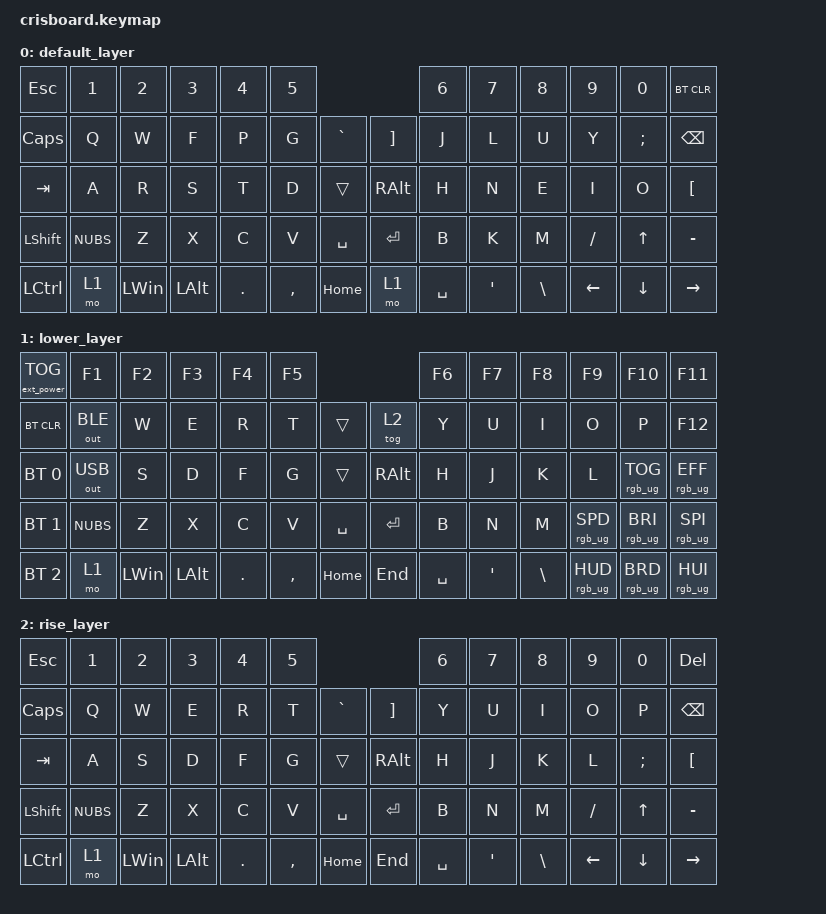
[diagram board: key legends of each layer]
#include <behaviors.dtsi>
#include <dt-bindings/zmk/keys.h>
#include <dt-bindings/zmk/bt.h>
#include <dt-bindings/zmk/outputs.h>
#include <dt-bindings/led/led.h>
#include <dt-bindings/zmk/rgb.h>
#include <dt-bindings/zmk/ext_power.h>

#define DEF 0
#define LWR 1
#define RSE 2
#define ADJ 3




/ {
        keymap {
                compatible = "zmk,keymap";

                default_layer {

//
 // COLEMAK
 // ,-----------------------------------------.                    ,----------------------------------------.
 // | ESC  |   1  |   2  |   3  |   4  |   5  |                   |   6  |   7  |   8  |   9  |   0  |  DEL |
 // |------+------+------+------+------+------|-------    --------|------+------+------+------+------+------|
 // | CAPS |   Q  |   W  |   F  |   P  |   G  |      |    |  +*   |   J  |   L  |   U  |   Y  |   Ñ  | BSPC |
 // |------+------+------+------+------+------|-------    --------|------+------+------+------+------+------|
 // | Tab  |   A  |   R  |   S  |   T  |   D  |      |    |       |   H  |   N  |   E  |   I  |   O  |  ´   |
 // |------+------+------+------+------+------|-------    --------|------+------+------+------+------+------|
 // |LShift|  <>  |   Z  |   X  |   C  |   V  |  :.  |    | ENTER |   B  |   K  |   M  |   -  |  UP  |  '?  |
 // |-----------------------------------------|-------    --------|-----------------------------------------|
 // | LCTR |  WIN | KC_NO| LALT |  ,;  |  SPC | HOME |    |  END  |  SPC |   {  |   }  | LEFT | DOWN | RIGHT|
 //  -------------------------------------------------    ---------------------------------------------------
 //


                        bindings = <
    &kp ESC        &kp N1      &kp N2      &kp N3      &kp N4     &kp N5                                &kp N6    &kp N7     &kp N8      &kp N9     &kp N0     &bt BT_CLR
    &kp CAPS       &kp Q       &kp W       &kp F       &kp P      &kp G       &kp GRAVE       &kp RBKT  &kp J     &kp L      &kp U       &kp Y      &kp SEMI   &kp BSPC
    &kp TAB        &kp A       &kp R       &kp S       &kp T      &kp D       &trans          &kp RALT  &kp H     &kp N      &kp E       &kp I      &kp O      &kp LBKT
    &kp LSHFT      &kp NUBS    &kp Z       &kp X       &kp C      &kp V       &kp SPACE       &kp ENTER &kp B     &kp K      &kp M       &kp FSLH   &kp UP     &kp MINUS
    &kp LCTRL      &mo 1       &kp LWIN    &kp LALT    &kp DOT    &kp COMMA   &kp HOME        &mo 1   &kp SPACE &kp APOS   &kp BSLH    &kp LEFT   &kp DOWN   &kp RIGHT

                        >;
                };






                lower_layer {
 //
 // FN
 // ,-----------------------------------------.                    ,----------------------------------------.
 // | ESC  |   1  |   2  |   3  |   4  |   5  |                   |   6  |   7  |   8  |   9  |   0  |  DEL |
 // |------+------+------+------+------+------|-------    --------|------+------+------+------+------+------|
 // | BTclr|TogOut|   W  |   E  |   R  |   T  |      |    |Colemak|   Y  |   U  |   I  |   O  |   P  | BSPC |
 // |------+------+------+------+------+------|-------    --------|------+------+------+------+------+------|
 // | BT0  |   A  |   S  |   D  |   F  |   G  |      |    |       |   H  |   J  |   K  |   L  |   Ñ  |  ´   |
 // |------+------+------+------+------+------|-------    --------|------+------+------+------+------+------|
 // | BT1  |  <>  |   Z  |   X  |   C  |   V  |  :.  |    | ENTER |   B  |   N  |   M  |   -  |  UP  |  '?  |
 // |-----------------------------------------|-------    --------|-----------------------------------------|
 // | BT2  |  WIN | KC_NO| LALT |  ,;  |  SPC | HOME |    |  END  |  SPC |   {  |   }  | LEFT | DOWN | RIGHT|
 //  -------------------------------------------------    ---------------------------------------------------
 //


                        bindings = <
    &ext_power EP_TOG &kp F1       &kp F2      &kp F3      &kp F4     &kp F5                                &kp F6    &kp F7     &kp F8      &kp F9           &kp F10         &kp F11
    &bt BT_CLR     &out OUT_BLE &kp W       &kp E       &kp R      &kp T       &trans          &tog 2    &kp Y     &kp U      &kp I       &kp O             &kp P             &kp F12
    &bt BT_SEL 0   &out OUT_USB &kp S       &kp D       &kp F      &kp G       &trans          &kp RALT  &kp H     &kp J      &kp K       &kp L             &rgb_ug RGB_TOG   &rgb_ug RGB_EFF
    &bt BT_SEL 1   &kp NUBS     &kp Z       &kp X       &kp C      &kp V       &kp SPACE       &kp ENTER &kp B     &kp N      &kp M       &rgb_ug RGB_SPD   &rgb_ug RGB_BRI   &rgb_ug RGB_SPI
    &bt BT_SEL 2   &mo 1        &kp LWIN    &kp LALT    &kp DOT    &kp COMMA   &kp HOME        &kp END   &kp SPACE &kp APOS   &kp BSLH    &rgb_ug RGB_HUD   &rgb_ug RGB_BRD   &rgb_ug RGB_HUI
                        >;
                };



                rise_layer {
 //
 // QWERTY
 // ,-----------------------------------------.                    ,----------------------------------------.
 // | ESC  |   1  |   2  |   3  |   4  |   5  |                   |   6  |   7  |   8  |   9  |   0  |  DEL |
 // |------+------+------+------+------+------|-------    --------|------+------+------+------+------+------|
 // | CAPS |   Q  |   W  |   E  |   R  |   T  |  |°  |    |  +*   |   Y  |   U  |   I  |   O  |   P  | BSPC |
 // |------+------+------+------+------+------|-------    --------|------+------+------+------+------+------|
 // | Tab  |   A  |   S  |   D  |   F  |   G  |      |    |  RAlt |   H  |   J  |   K  |   L  |   Ñ  |  ´   |
 // |------+------+------+------+------+------|-------    --------|------+------+------+------+------+------|
 // |LShift|  <>  |   Z  |   X  |   C  |   V  |  :.  |    | ENTER |   B  |   N  |   M  |   -  |  UP  |  '?  |
 // |-----------------------------------------|-------    --------|-----------------------------------------|
 // | LCTR |  WIN | KC_NO| LALT |  ,;  |  SPC | HOME |    |  END  |  SPC |   {  |   }  | LEFT | DOWN | RIGHT|
 //  -------------------------------------------------    ---------------------------------------------------
 //


                        bindings = <
    &kp ESC        &kp N1      &kp N2      &kp N3      &kp N4     &kp N5                                &kp N6    &kp N7     &kp N8      &kp N9     &kp N0     &kp DEL
    &kp CAPS       &kp Q       &kp W       &kp E       &kp R      &kp T       &kp GRAVE       &kp RBKT  &kp Y     &kp U      &kp I       &kp O      &kp P      &kp BSPC
    &kp TAB        &kp A       &kp S       &kp D       &kp F      &kp G       &trans          &kp RALT  &kp H     &kp J      &kp K       &kp L      &kp SEMI   &kp LBKT
    &kp LSHFT      &kp NUBS    &kp Z       &kp X       &kp C      &kp V       &kp SPACE       &kp ENTER &kp B     &kp N      &kp M       &kp FSLH   &kp UP     &kp MINUS
    &kp LCTRL      &mo 1       &kp LWIN    &kp LALT    &kp DOT    &kp COMMA   &kp HOME        &kp END   &kp SPACE &kp APOS   &kp BSLH    &kp LEFT   &kp DOWN   &kp RIGHT
                        >;
                };






        };



};
